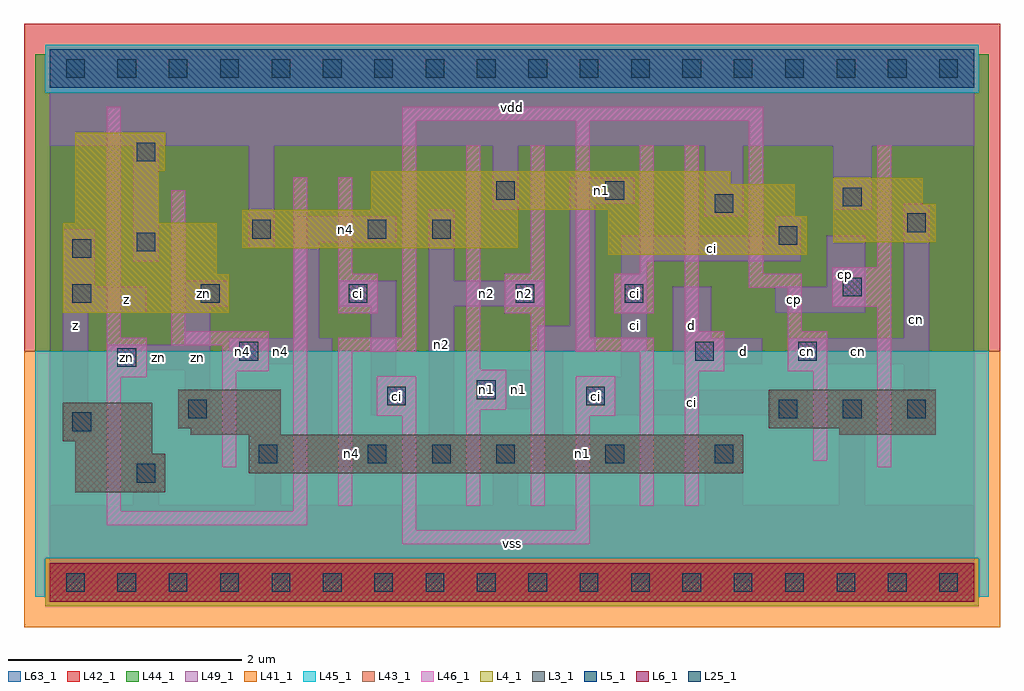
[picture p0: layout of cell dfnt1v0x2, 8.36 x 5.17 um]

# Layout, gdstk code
import gdstk
lib = gdstk.Library(unit=1e-6, precision=1e-09)
def R(c, l, rs):  # rectangles x0, y0, x1, y1
    for r in rs: c.add(gdstk.rectangle(r[:2], r[2:], *l))
def A(c, l, x, y, w, h, nx, ny, dx, dy):  # array of equal rectangles
    R(c, l, [(x+i*dx, y+j*dy, x+i*dx+w, y+j*dy+h) for i in range(nx) for j in range(ny)])
L3_1 = (3, 1)
L4_1 = (4, 1)
L5_1 = (5, 1)
L6_1 = (6, 1)
L25_1 = (25, 1)
L41_1 = (41, 1)
L42_1 = (42, 1)
L43_1 = (43, 1)
L44_1 = (44, 1)
L45_1 = (45, 1)
L46_1 = (46, 1)
L49_1 = (49, 1)
L63_1 = (63, 1)

dfnt1v0x2 = lib.new_cell('dfnt1v0x2')
R(dfnt1v0x2, L3_1, [(0.22,0.77,0.99,1.1), (1.705,0.935,5.94,1.265), (0.22,1.1,0.88,1.21), (0.11,1.21,0.88,1.54), (1.21,1.265,1.98,1.32), (6.765,1.265,7.59,1.32), (1.1,1.32,1.98,1.65), (6.16,1.32,7.59,1.65)])
R(dfnt1v0x2, L4_1, [(0.11,2.31,1.54,2.64), (0.11,2.64,1.43,3.08), (4.785,2.805,6.49,3.135), (1.65,2.86,4.015,3.19), (6.71,2.915,7.59,3.245), (0.22,3.08,0.935,3.52), (4.785,3.135,6.38,3.19), (2.75,3.19,6.38,3.41), (6.71,3.245,7.48,3.465), (2.75,3.41,5.83,3.52), (0.22,3.52,0.99,3.85)])
R(dfnt1v0x2, L5_1, [(0,4.235,7.92,4.565)])
R(dfnt1v0x2, L6_1, [(0,-0.165,7.92,0.165)])
A(dfnt1v0x2, L25_1, 0.14, -0.08, 0.16, 0.16, 18, 2, 0.44, 4.4)
A(dfnt1v0x2, L25_1, 2.725, 1.02, 0.16, 0.16, 3, 1, 0.55, 0)
A(dfnt1v0x2, L25_1, 6.245, 1.405, 0.16, 0.16, 3, 1, 0.55, 0)
R(dfnt1v0x2, L25_1, [(0.745,0.855,0.905,1.015), (1.79,1.02,1.95,1.18), (4.76,1.02,4.92,1.18), (5.695,1.02,5.855,1.18), (0.195,1.295,0.355,1.455), (1.185,1.405,1.345,1.565), (2.89,1.515,3.05,1.675), (4.595,1.515,4.755,1.675), (3.66,1.57,3.82,1.73), (0.58,1.845,0.74,2.005), (1.625,1.9,1.785,2.06), (5.53,1.9,5.69,2.06), (6.41,1.9,6.57,2.06), (0.195,2.395,0.355,2.555), (1.295,2.395,1.455,2.555), (2.56,2.395,2.72,2.555), (3.99,2.395,4.15,2.555), (4.925,2.395,5.085,2.555), (6.795,2.45,6.955,2.61), (0.195,2.78,0.355,2.94), (0.745,2.835,0.905,2.995), (6.245,2.89,6.405,3.05), (1.735,2.945,1.895,3.105), (2.725,2.945,2.885,3.105), (3.275,2.945,3.435,3.105), (7.345,3,7.505,3.16), (5.695,3.165,5.855,3.325), (6.795,3.22,6.955,3.38), (3.825,3.275,3.985,3.435), (4.76,3.275,4.92,3.435), (0.745,3.605,0.905,3.765)])
R(dfnt1v0x2, L41_1, [(-0.22,-0.385,8.14,1.98)])
R(dfnt1v0x2, L42_1, [(-0.22,1.98,8.14,4.785)])
R(dfnt1v0x2, L43_1, [(0,-0.165,7.92,0.165), (0.22,0.77,0.99,1.1), (1.705,0.935,5.94,1.265), (0.22,1.1,0.88,1.21), (0.11,1.21,0.88,1.54), (1.21,1.265,1.98,1.32), (6.765,1.265,7.59,1.32), (1.1,1.32,1.98,1.65), (6.16,1.32,7.59,1.65), (0.11,2.31,1.54,2.64), (0.11,2.64,1.43,3.08), (4.785,2.805,6.49,3.135), (1.65,2.86,4.015,3.19), (6.71,2.915,7.59,3.245), (0.22,3.08,0.935,3.52), (4.785,3.135,6.38,3.19), (2.75,3.19,6.38,3.41), (6.71,3.245,7.48,3.465), (2.75,3.41,5.83,3.52), (0.22,3.52,0.99,3.85), (0,4.235,7.92,4.565)])
R(dfnt1v0x2, L44_1, [(-0.04,-0.205,7.96,0.205), (-0.125,1.98,8.045,4.195), (-0.125,4.195,-0.04,4.525), (7.96,4.195,8.045,4.525)])
R(dfnt1v0x2, L45_1, [(-0.125,-0.125,-0.04,0.205), (7.96,-0.125,8.045,0.205), (-0.125,0.205,8.045,1.98), (-0.04,4.195,7.96,4.605)])
R(dfnt1v0x2, L46_1, [(3.02,0.325,4.625,0.445), (3.02,0.445,3.14,1.425), (4.505,0.445,4.625,1.425), (0.49,0.49,2.205,0.61), (0.49,0.61,0.61,1.755), (2.085,0.61,2.205,3.47), (2.47,0.655,2.59,1.975), (3.57,0.655,3.69,1.48), (4.12,0.655,4.24,2.305), (5.055,0.655,5.175,1.975), (5.44,0.655,5.56,1.81), (1.48,0.985,1.6,1.81), (7.09,0.985,7.21,2.36), (6.54,1.04,6.66,1.81), (2.8,1.425,3.14,1.765), (4.505,1.425,4.845,1.765), (3.57,1.48,3.91,1.82), (0.49,1.755,0.83,2.095), (1.48,1.81,1.875,2.03), (5.44,1.81,5.78,2.15), (6.32,1.81,6.66,2.15), (3.57,1.82,3.69,3.745), (2.47,1.975,3.14,2.095), (4.505,1.975,5.175,2.095), (1.04,2.03,1.875,2.15), (0.49,2.095,0.61,4.075), (3.02,2.095,3.14,3.955), (4.505,2.095,4.625,3.955), (1.04,2.15,1.16,3.36), (5.44,2.15,5.56,3.745), (6.32,2.15,6.44,2.525), (2.47,2.305,2.81,2.645), (3.9,2.305,4.24,2.645), (4.835,2.305,5.175,2.645), (6.705,2.36,7.21,2.7), (5.99,2.525,6.44,2.645), (2.47,2.645,2.59,3.47), (4.12,2.645,4.24,3.745), (5.055,2.645,5.175,3.745), (5.99,2.645,6.11,3.955), (7.09,2.7,7.21,3.745), (3.02,3.955,6.11,4.075)])
R(dfnt1v0x2, L49_1, [(0,-0.11,7.92,0.66), (0.715,0.66,0.935,1.1), (1.76,0.66,1.98,1.265), (3.795,0.66,4.015,1.265), (5.61,0.66,5.94,1.21), (6.765,0.66,6.985,1.65), (3.245,0.935,3.465,2.365), (2.2,0.99,2.97,1.21), (4.18,0.99,5.005,1.21), (0.11,1.21,0.385,1.54), (2.2,1.21,2.42,1.87), (4.18,1.21,4.4,1.485), (1.155,1.32,1.375,1.815), (7.315,1.32,7.535,1.87), (6.16,1.375,6.49,1.43), (2.75,1.43,3.08,1.76), (4.565,1.43,6.49,1.65), (3.63,1.485,4.4,1.815), (0.11,1.54,0.33,2.31), (4.565,1.65,5.115,1.76), (2.75,1.76,2.97,2.365), (4.895,1.76,5.115,2.75), (0.495,1.815,1.375,2.035), (4.18,1.815,4.4,1.98), (1.54,1.87,2.42,2.09), (5.335,1.87,6.105,2.09), (6.325,1.87,7.535,2.09), (4.18,1.98,4.675,2.2), (1.155,2.035,1.375,2.365), (2.09,2.09,2.31,2.915), (5.335,2.09,5.665,2.53), (7.315,2.09,7.535,3.245), (4.455,2.2,4.675,3.245), (0.11,2.31,0.825,2.53), (6.215,2.31,6.985,2.53), (1.155,2.365,1.54,2.585), (2.475,2.365,2.97,2.585), (3.245,2.365,4.235,2.585), (0.11,2.53,0.385,3.025), (6.655,2.53,6.985,2.97), (3.245,2.585,3.465,3.19), (0.715,2.75,0.935,3.74), (4.895,2.75,6.435,2.97), (1.705,2.86,1.925,3.74), (2.09,2.915,2.97,3.135), (6.215,2.97,6.435,3.135), (5.61,3.135,5.94,3.74), (3.795,3.19,4.015,3.74), (6.71,3.19,7.04,3.74), (4.455,3.245,5.005,3.465), (0,3.74,7.92,4.51)])
R(dfnt1v0x2, L63_1, [(0,0,7.92,4.4)])
dfnt1v0x2.add(gdstk.Label('zn', (0.66,1.925), layer=49, texttype=1))
dfnt1v0x2.add(gdstk.Label('n4', (1.65,1.98), layer=49, texttype=1))
dfnt1v0x2.add(gdstk.Label('ci', (2.97,1.595), layer=49, texttype=1))
dfnt1v0x2.add(gdstk.Label('ci', (2.64,2.475), layer=49, texttype=1))
dfnt1v0x2.add(gdstk.Label('n1', (3.74,1.65), layer=49, texttype=1))
dfnt1v0x2.add(gdstk.Label('ci', (4.675,1.595), layer=49, texttype=1))
dfnt1v0x2.add(gdstk.Label('ci', (5.005,2.475), layer=49, texttype=1))
dfnt1v0x2.add(gdstk.Label('n2', (4.07,2.475), layer=49, texttype=1))
dfnt1v0x2.add(gdstk.Label('cn', (6.49,1.98), layer=49, texttype=1))
dfnt1v0x2.add(gdstk.Label('zn', (1.265,1.925), layer=49, texttype=1))
dfnt1v0x2.add(gdstk.Label('zn', (0.935,1.925), layer=49, texttype=1))
dfnt1v0x2.add(gdstk.Label('z', (0.22,2.2), layer=49, texttype=1))
dfnt1v0x2.add(gdstk.Label('z', (0.66,2.42), layer=49, texttype=1))
dfnt1v0x2.add(gdstk.Label('n4', (2.585,1.1), layer=49, texttype=1))
dfnt1v0x2.add(gdstk.Label('ci', (2.915,1.595), layer=49, texttype=1))
dfnt1v0x2.add(gdstk.Label('n4', (1.98,1.98), layer=49, texttype=1))
dfnt1v0x2.add(gdstk.Label('zn', (1.32,2.475), layer=49, texttype=1))
dfnt1v0x2.add(gdstk.Label('ci', (2.695,2.475), layer=49, texttype=1))
dfnt1v0x2.add(gdstk.Label('n4', (2.53,3.025), layer=49, texttype=1))
dfnt1v0x2.add(gdstk.Label('vss', (3.96,0.33), layer=49, texttype=1))
dfnt1v0x2.add(gdstk.Label('n1', (4.015,1.65), layer=49, texttype=1))
dfnt1v0x2.add(gdstk.Label('n2', (3.74,2.475), layer=49, texttype=1))
dfnt1v0x2.add(gdstk.Label('n2', (3.355,2.035), layer=49, texttype=1))
dfnt1v0x2.add(gdstk.Label('vdd', (3.96,4.07), layer=49, texttype=1))
dfnt1v0x2.add(gdstk.Label('n1', (4.565,1.1), layer=49, texttype=1))
dfnt1v0x2.add(gdstk.Label('d', (5.94,1.98), layer=49, texttype=1))
dfnt1v0x2.add(gdstk.Label('d', (5.5,2.2), layer=49, texttype=1))
dfnt1v0x2.add(gdstk.Label('ci', (5.005,2.2), layer=49, texttype=1))
dfnt1v0x2.add(gdstk.Label('n1', (4.73,3.355), layer=49, texttype=1))
dfnt1v0x2.add(gdstk.Label('ci', (5.5,1.54), layer=49, texttype=1))
dfnt1v0x2.add(gdstk.Label('cp', (6.38,2.42), layer=49, texttype=1))
dfnt1v0x2.add(gdstk.Label('cn', (6.93,1.98), layer=49, texttype=1))
dfnt1v0x2.add(gdstk.Label('cp', (6.82,2.64), layer=49, texttype=1))
dfnt1v0x2.add(gdstk.Label('ci', (5.665,2.86), layer=49, texttype=1))
dfnt1v0x2.add(gdstk.Label('cn', (7.425,2.255), layer=49, texttype=1))

lib.write_gds('dfnt1v0x2.gds')
